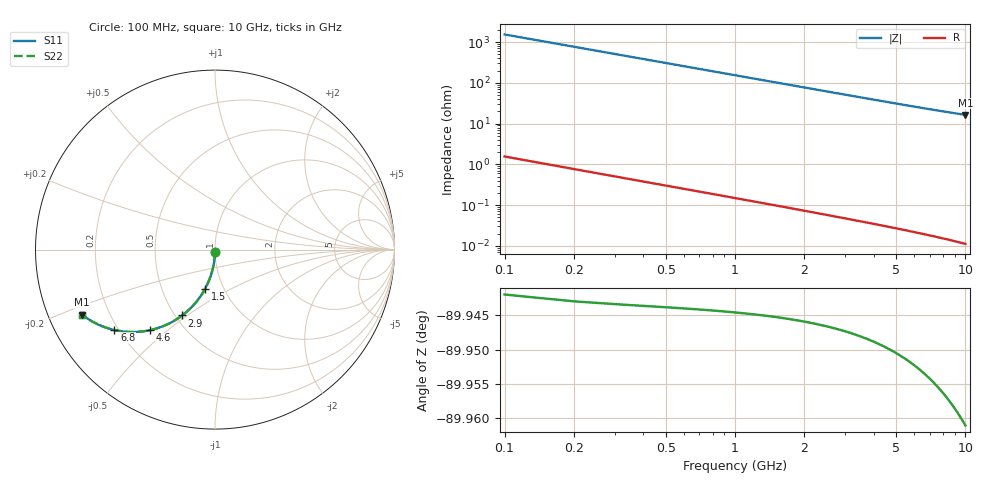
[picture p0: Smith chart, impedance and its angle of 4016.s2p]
# Hz S RI R 50.00
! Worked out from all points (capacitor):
!   100 points, 100 MHz to 10 GHz, reference 50 ohm
!   read as one part in shunt: C = 1.03 pF near 100 MHz
!   lowest |Z| = 16.4 ohm at 10 GHz (marker M1)
!   S11 on the Smith chart (normalised r, x): 100 MHz: 1.00, -0.03; 1.5 GHz: 0.81, -0.38; 2.9 GHz: 0.54, -0.48; 4.6 GHz: 0.32, -0.44; 6.8 GHz: 0.18, -0.34; 10 GHz: 0.10, -0.23
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1e8  -0.000109 -0.0156  0.9995 -0.0169  0.9995 -0.0169  -0.000109 -0.0156
2e8  -0.000913 -0.0311  0.9987 -0.0338  0.9987 -0.0338  -0.000913 -0.0311
3e8  -0.00224 -0.0466  0.9974 -0.0506  0.9974 -0.0506  -0.00224 -0.0466
4e8  -0.00409 -0.062  0.9956 -0.0674  0.9956 -0.0674  -0.00409 -0.062
5e8  -0.00645 -0.0773  0.9932 -0.0841  0.9932 -0.0841  -0.00645 -0.0773
6e8  -0.00931 -0.0925  0.9903 -0.1006  0.9903 -0.1006  -0.00931 -0.0925
7e8  -0.0127 -0.1075  0.9869 -0.117  0.9869 -0.117  -0.0127 -0.1075
9e8  -0.0209 -0.1371  0.9787 -0.1493  0.9787 -0.1493  -0.0209 -0.1371
1.2e9  -0.0366 -0.1798  0.9629 -0.1961  0.9629 -0.1961  -0.0366 -0.1798
1.5e9  -0.0562 -0.2201  0.9433 -0.2405  0.9433 -0.2405  -0.0562 -0.2201
1.8e9  -0.079 -0.2576  0.9203 -0.2821  0.9203 -0.2821  -0.079 -0.2576
2.3e9  -0.1232 -0.313  0.8759 -0.3444  0.8759 -0.3444  -0.1232 -0.313
2.9e9  -0.1832 -0.3669  0.8157 -0.4066  0.8157 -0.4066  -0.1832 -0.3669
3.4e9  -0.2363 -0.4014  0.7623 -0.448  0.7623 -0.448  -0.2363 -0.4014
4e9  -0.3008 -0.431  0.6973 -0.486  0.6973 -0.486  -0.3008 -0.431
4.6e9  -0.3638 -0.4492  0.6338 -0.5126  0.6338 -0.5126  -0.3638 -0.4492
5.1e9  -0.4138 -0.4569  0.5833 -0.5275  0.5833 -0.5275  -0.4138 -0.4569
5.9e9  -0.4877 -0.4583  0.5085 -0.5404  0.5085 -0.5404  -0.4877 -0.4583
6.7e9  -0.5531 -0.4495  0.4421 -0.5433  0.4421 -0.5433  -0.5531 -0.4495
6.8e9  -0.5606 -0.4478  0.4344 -0.5431  0.4344 -0.5431  -0.5606 -0.4478
8.4e9  -0.6644 -0.4107  0.328 -0.5299  0.328 -0.5299  -0.6644 -0.4107
1e10  -0.7404 -0.3628  0.2488 -0.5069  0.2488 -0.5069  -0.7404 -0.3628
